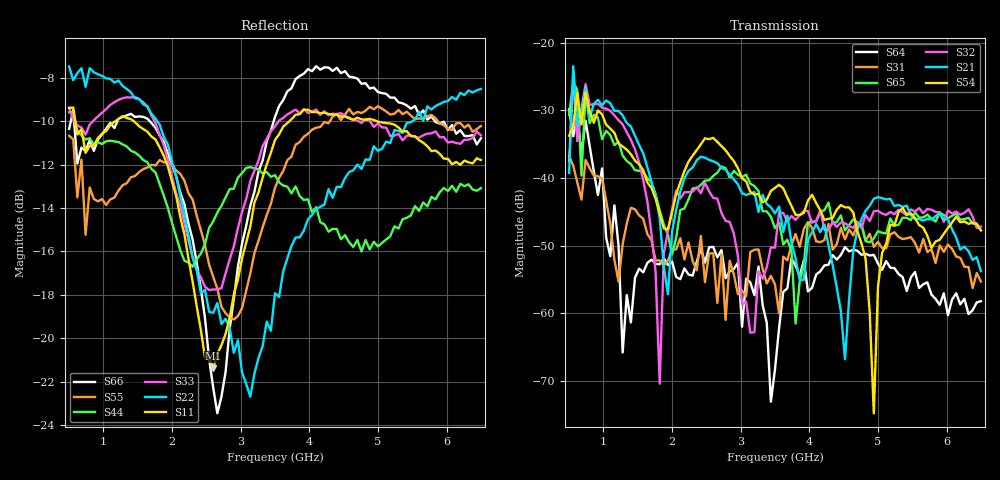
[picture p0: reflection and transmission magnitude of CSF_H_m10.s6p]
!Keysight Technologies,M9804A,MY58100912,A.14.10.03
!Date: Thursday, April 27, 2023 10:28:33
!Correction: S11(C  6-Port  )
!S12(C  6-Port  )
!S13(C  6-Port  )
!S14(C  6-Port  )
!S15(C  6-Port  )
!S16(C  6-Port  )
!S21(C  6-Port  )
!S22(C  6-Port  )
!S23(C  6-Port  )
!S24(C  6-Port  )
!S25(C  6-Port  )
!S26(C  6-Port  )
!S31(C  6-Port  )
!S32(C  6-Port  )
!S33(C  6-Port  )
!S34(C  6-Port  )
!S35(C  6-Port  )
!S36(C  6-Port  )
!S41(C  6-Port  )
!S42(C  6-Port  )
!S43(C  6-Port  )
!S44(C  6-Port  )
!S45(C  6-Port  )
!S46(C  6-Port  )
!S51(C  6-Port  )
!S52(C  6-Port  )
!S53(C  6-Port  )
!S54(C  6-Port  )
!S55(C  6-Port  )
!S56(C  6-Port  )
!S61(C  6-Port  )
!S62(C  6-Port  )
!S63(C  6-Port  )
!S64(C  6-Port  )
!S65(C  6-Port  )
!S66(C  6-Port  )
!S6P File: Measurement: :
# Hz S  RI  R 50
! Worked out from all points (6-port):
!   101 points, 500 MHz to 6.5 GHz, reference 50 ohm
!   strongest paths, dB at 500 MHz, 2 GHz, 3.5 GHz, 5 GHz, 6.5 GHz:
!     S54: -33.8, -45.1, -41.5, -56.2, -47.7
!     S21: -39.2, -47.9, -45.2, -42.8, -53.8
!     S32: -37.5, -44.6, -50.3, -44.8, -47.2
!     S65: -30.7, -51.3, -47.4, -47.9, -47.7
!     S31: -36.7, -50.6, -55.7, -49.4, -55.3
!     S64: -29.8, -52.3, -68.2, -52.6, -58.2
!   lowest |S11| = -21.4 dB at 2.6 GHz (marker M1), VSWR 1.19, Z = 42.4 + j2.15 ohm
!   |S11| at or under -10 dB: 590.3 MHz to 1.175 GHz (584.7 MHz wide, 66.2 % of centre); 1.439 GHz to 3.711 GHz (2.272 GHz wide, 88.2 % of centre); 4.98 GHz to end of sweep
